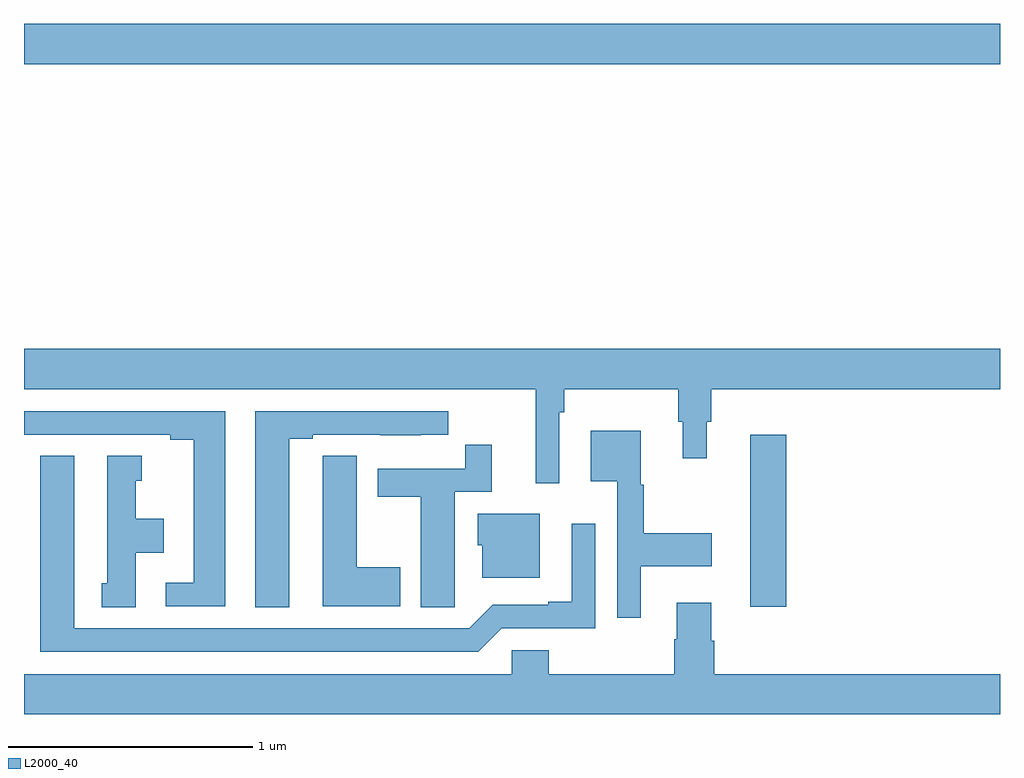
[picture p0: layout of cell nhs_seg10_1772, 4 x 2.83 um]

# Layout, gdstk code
import gdstk
lib = gdstk.Library(unit=1e-6, precision=1e-09)
def R(c, l, rs):  # rectangles x0, y0, x1, y1
    for r in rs: c.add(gdstk.rectangle(r[:2], r[2:], *l))
def P(c, l, *ps):  # polygons
    for p in ps: c.add(gdstk.Polygon(p, *l))
L2000_40 = (2000, 40)

nhs_seg10_1772 = lib.new_cell('nhs_seg10_1772')
R(nhs_seg10_1772, L2000_40, [(205.976,1314.075,206.123,1314.781), (203,1316.3,207,1316.464)])
P(nhs_seg10_1772, L2000_40, [(205.194,1314.872),(205.214,1314.872),(205.214,1314.968),(205.681,1314.968),(205.681,1314.834),(205.7,1314.834),(205.7,1314.684),(205.798,1314.684),(205.798,1314.834),(205.817,1314.834),(205.817,1314.968),(207,1314.968),(207,1315.132),(203,1315.132),(203,1314.968),(205.097,1314.968),(205.097,1314.582),(205.194,1314.582)],
  [(204.088,1314.765),(204.184,1314.765),(204.184,1314.78),(204.46,1314.78),(204.46,1314.779),(204.626,1314.779),(204.626,1314.78),(204.739,1314.78),(204.739,1314.876),(203.948,1314.876),(203.948,1314.073),(204.088,1314.073)],
  [(203.824,1314.876),(203,1314.876),(203,1314.78),(203.6,1314.78),(203.6,1314.76),(203.696,1314.76),(203.696,1314.174),(203.58,1314.174),(203.58,1314.078),(203.824,1314.078)],
  [(205.528,1314.242),(205.819,1314.242),(205.819,1314.377),(205.54,1314.377),(205.54,1314.576),(205.528,1314.576),(205.528,1314.796),(205.322,1314.796),(205.322,1314.59),(205.431,1314.59),(205.431,1314.03),(205.528,1314.03)],
  [(204.765,1314.184),(204.766,1314.184),(204.766,1314.546),(204.917,1314.546),(204.917,1314.739),(204.808,1314.739),(204.808,1314.642),(204.449,1314.642),(204.449,1314.526),(204.626,1314.526),(204.626,1314.073),(204.765,1314.073)],
  [(204.541,1314.237),(204.364,1314.237),(204.364,1314.695),(204.225,1314.695),(204.225,1314.587),(204.224,1314.587),(204.224,1314.077),(204.541,1314.077)],
  [(204.957,1313.988),(205.341,1313.988),(205.341,1314.415),(205.244,1314.415),(205.244,1314.097),(205.148,1314.097),(205.148,1314.084),(204.921,1314.084),(204.825,1313.988),(203.206,1313.988),(203.206,1314.694),(203.066,1314.694),(203.066,1313.892),(204.861,1313.892)],
  [(203.458,1314.296),(203.572,1314.296),(203.572,1314.436),(203.458,1314.436),(203.458,1314.591),(203.482,1314.591),(203.482,1314.694),(203.342,1314.694),(203.342,1314.171),(203.318,1314.171),(203.318,1314.073),(203.458,1314.073)],
  [(205.114,1314.457),(204.86,1314.457),(204.86,1314.327),(204.878,1314.327),(204.878,1314.194),(205.114,1314.194)],
  [(207,1313.8),(205.829,1313.8),(205.829,1313.937),(205.816,1313.937),(205.816,1314.091),(205.676,1314.091),(205.676,1313.942),(205.664,1313.942),(205.664,1313.8),(205.151,1313.8),(205.151,1313.898),(204.999,1313.898),(204.999,1313.8),(203,1313.8),(203,1313.636),(207,1313.636)])

lib.write_gds('nhs_seg10_1772.gds')
